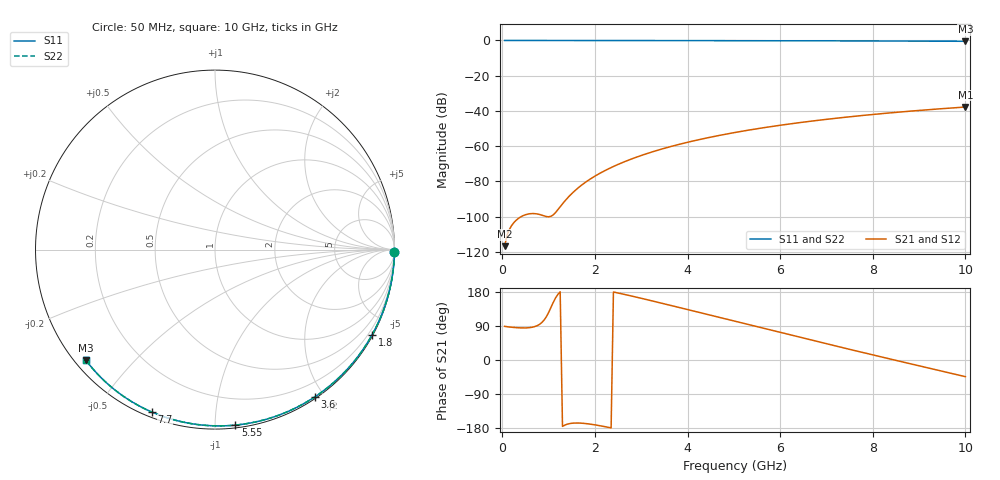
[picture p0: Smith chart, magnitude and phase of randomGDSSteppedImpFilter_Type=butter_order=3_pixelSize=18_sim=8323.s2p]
! freq	dB(S11)	phase(S11)	dB(S12)	phase(S12)
!  dB(S21)	phase(S21)	dB(S22)	phase(S22)
!S-par simulation data
#  GHz  S  DB  R 50
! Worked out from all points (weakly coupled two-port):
!   200 points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, 50 MHz to 10 GHz, reference 50 ohm
!   highest |S21| = -37.78 dB at 10 GHz (marker M1); lowest = -116.7 dB at 50 MHz (marker M2)
!   lowest |S11| = -0.5 dB at 10 GHz (marker M3), VSWR 36.83, Z = 1.54 - j18.4 ohm
!   |S11| at or under -10 dB: nowhere
!   |S22| runs from -0.5 to 0.0 dB; largest |S21 - S12| = 0
!   S11 on the Smith chart (normalised r, x): 50 MHz: open; 1.8 GHz: 0.03, -3.92; 3.6 GHz: 0.02, -1.89; 5.55 GHz: 0.02, -1.12; 7.7 GHz: 0.02, -0.68; 10 GHz: 0.03, -0.37
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0.05  -0.00 -0.8  -116.75 88.8  -116.75 88.8  -0.00 -0.8
0.45  -0.01 -7.3  -99.42 84.6  -99.42 84.6  -0.01 -7.3
0.9  -0.02 -14.4  -99.54 105.0  -99.54 105.0  -0.02 -14.5
1.75  -0.04 -27.8  -81.36 -167.1  -81.36 -167.1  -0.04 -27.9
1.8  -0.04 -28.6  -80.41 -167.7  -80.41 -167.7  -0.04 -28.6
1.85  -0.04 -29.4  -79.50 -168.4  -79.50 -168.4  -0.04 -29.4
2.05  -0.04 -32.5  -76.24 -172.1  -76.24 -172.1  -0.04 -32.5
2.2  -0.04 -34.8  -74.09 -175.5  -74.09 -175.5  -0.04 -34.8
2.55  -0.05 -40.2  -69.78 175.5  -69.78 175.5  -0.05 -40.2
2.95  -0.06 -46.2  -65.74 164.3  -65.74 164.3  -0.06 -46.3
3.4  -0.07 -52.9  -61.95 151.1  -61.95 151.1  -0.07 -53.0
3.6  -0.08 -55.9  -60.47 145.1  -60.47 145.1  -0.08 -55.9
3.9  -0.08 -60.3  -58.43 136.1  -58.43 136.1  -0.08 -60.3
4.3  -0.09 -66.0  -55.99 124.0  -55.99 124.0  -0.09 -66.0
5.05  -0.12 -76.5  -52.10 101.3  -52.10 101.3  -0.12 -76.6
5.55  -0.14 -83.4  -49.90 86.2  -49.90 86.2  -0.14 -83.4
6.1  -0.16 -90.7  -47.76 69.6  -47.76 69.6  -0.16 -90.8
6.7  -0.19 -98.5  -45.70 51.7  -45.70 51.7  -0.19 -98.6
7.7  -0.25 -111.3  -42.78 22.2  -42.78 22.2  -0.25 -111.3
8.35  -0.31 -119.3  -41.16 3.3  -41.16 3.3  -0.31 -119.4
9.2  -0.38 -129.8  -39.30 -21.1  -39.30 -21.1  -0.38 -129.8
10  -0.47 -139.5  -37.78 -44.0  -37.78 -44.0  -0.47 -139.6
